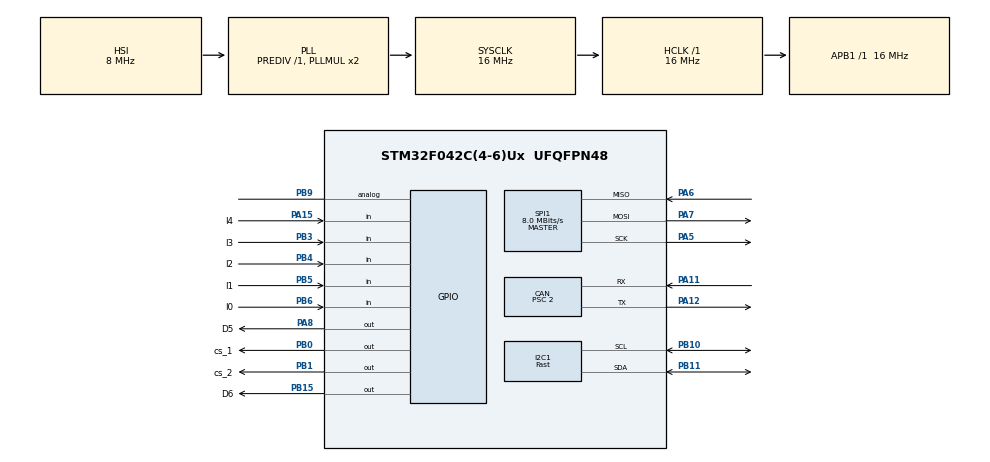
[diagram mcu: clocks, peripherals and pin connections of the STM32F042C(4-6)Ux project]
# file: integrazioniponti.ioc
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CAN.BS1=CAN_BS1_8TQ
CAN.CalculateTimeQuantum=125.0
CAN.NART=ENABLE
CAN.Prescaler=2
CAN.TXFP=ENABLE
I2C1.I2C_Speed_Mode=I2C_Fast
I2C1.Speed=400
I2C1.Timing=0x0000020B
Mcu.Family=STM32F0
Mcu.Name=STM32F042C(4-6)Ux
Mcu.Package=UFQFPN48
NVIC.TIM16_IRQn=true\:0\:0\:false\:false\:true\:true\:true
NVIC.TIM1_BRK_UP_TRG_COM_IRQn=true\:0\:0\:false\:false\:true\:true\:true
NVIC.TIM3_IRQn=true\:0\:0\:false\:false\:true\:true\:true
PA10.Signal=USART1_RX
PA11.Mode=Master
PA11.Signal=CAN_RX
PA12.Mode=Master
PA12.Signal=CAN_TX
PA13.Mode=Serial_Wire
PA13.Signal=SYS_SWDIO
PA14.Mode=Serial_Wire
PA14.Signal=SYS_SWCLK
PA15.GPIO_Label=I4
PA15.GPIO_PuPd=GPIO_PULLUP
PA15.Signal=GPIO_Input
PA5.GPIO_PuPd=GPIO_NOPULL
PA5.Mode=Full_Duplex_Master
PA5.Signal=SPI1_SCK
PA6.GPIO_PuPd=GPIO_NOPULL
PA6.Mode=Full_Duplex_Master
PA6.Signal=SPI1_MISO
PA7.GPIO_PuPd=GPIO_NOPULL
PA7.Mode=Full_Duplex_Master
PA7.Signal=SPI1_MOSI
PA8.GPIO_Label=D5
PA8.Signal=GPIO_Output
PA9.Signal=USART1_TX
PB0.GPIO_Label=cs_1
PB0.GPIO_PuPd=GPIO_PULLUP
PB0.GPIO_Speed=GPIO_SPEED_FREQ_HIGH
PB0.PinState=GPIO_PIN_SET
PB0.Signal=GPIO_Output
PB1.GPIO_Label=cs_2
PB1.GPIO_PuPd=GPIO_PULLUP
PB1.GPIO_Speed=GPIO_SPEED_FREQ_HIGH
PB1.PinState=GPIO_PIN_SET
PB1.Signal=GPIO_Output
PB10.Mode=I2C
PB10.Signal=I2C1_SCL
PB11.Mode=I2C
PB11.Signal=I2C1_SDA
PB15.GPIO_Label=D6
PB15.Signal=GPIO_Output
PB3.GPIO_Label=I3
PB3.GPIO_PuPd=GPIO_PULLUP
PB3.Signal=GPIO_Input
PB4.GPIO_Label=I2
PB4.GPIO_PuPd=GPIO_PULLUP
PB4.Signal=GPIO_Input
PB5.GPIO_Label=I1
PB5.GPIO_PuPd=GPIO_PULLUP
PB5.Signal=GPIO_Input
PB6.GPIO_Label=I0
PB6.GPIO_PuPd=GPIO_PULLUP
PB6.Signal=GPIO_Input
PB9.Signal=GPIO_Analog
PF0-OSC_IN.Mode=HSE-External-Oscillator
PF0-OSC_IN.Signal=RCC_OSC_IN
PF1-OSC_OUT.Mode=HSE-External-Oscillator
PF1-OSC_OUT.Signal=RCC_OSC_OUT
ProjectManager.HeapSize=0x200
ProjectManager.StackSize=0x400
ProjectManager.TargetToolchain=STM32CubeIDE
RCC.AHBFreq_Value=16000000
RCC.APB1Freq_Value=16000000
RCC.APB1TimFreq_Value=16000000
RCC.HCLKFreq_Value=16000000
RCC.HSE_VALUE=16000000
RCC.SYSCLKFreq_VALUE=16000000
RCC.SYSCLKSource=RCC_SYSCLKSOURCE_PLLCLK
SPI1.BaudRatePrescaler=SPI_BAUDRATEPRESCALER_2
SPI1.CLKPhase=SPI_PHASE_2EDGE
SPI1.CLKPolarity=SPI_POLARITY_HIGH
SPI1.CalculateBaudRate=8.0 MBits/s
SPI1.DataSize=SPI_DATASIZE_8BIT
SPI1.Direction=SPI_DIRECTION_2LINES
SPI1.FirstBit=SPI_FIRSTBIT_MSB
SPI1.Mode=SPI_MODE_MASTER
SPI1.VirtualType=VM_MASTER
TIM1.Period=2000
TIM1.Prescaler=15
TIM16.Period=10
TIM16.Prescaler=14999
TIM2.ClockDivision=TIM_CLOCKDIVISION_DIV1
TIM2.Period=65000
TIM2.Prescaler=15
TIM3.Period=5
TIM3.Prescaler=15999
VP_TIM16_VS_ClockSourceINT.Mode=Enable_Timer
VP_TIM1_VS_ClockSourceINT.Mode=Internal
VP_TIM2_VS_ClockSourceINT.Mode=Internal
VP_TIM3_VS_ClockSourceINT.Mode=Internal
board=custom

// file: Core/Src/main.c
/* USER CODE BEGIN Header */
/**
  ******************************************************************************
  * @file           : main.c
  * @brief          : Main program body
  ******************************************************************************
  * @attention
  *
  * <h2><center>&copy; Copyright (c) 2019 STMicroelectronics.
  * All rights reserved.</center></h2>
  *
  * This software component is licensed by ST under BSD 3-Clause license,
  * the "License"; You may not use this file except in compliance with the
  * License. You may obtain a copy of the License at:
  *                        opensource.org/licenses/BSD-3-Clause
  *
  ******************************************************************************
  */
/* USER CODE END Header */

#include "main.h"

/* USER CODE BEGIN Includes */
#include "hts221_reg.h"
#include "lps22hb_reg.h"
#include "l2g2is_reg.h"
#include "iis3dhhc_reg.h"

#include <string.h>
#include <stdio.h>

/* USER CODE END Includes */

/* USER CODE BEGIN PD */
#define T_VALUE 5        //NUMERO DI VOLTE CHE VIENE PROVATA LA COMUNICAZIONE CON I SENSORI
#define NO_ERR 0x00      //NESSUN ERRORE
#define ACC_ERR 0x01	 //ERRORE MODULO ACCELLEROMETRO
#define GYR_ERR 0x02	 //ERRORE MODULO GIROSCOPIO
#define PRE_ERR 0x04     //ERRORE MODULO PRESSIONE
#define HUM_ERR 0x08	 //ERRORE MODULO UMIDITA'
#define FIR_P 0x00000000 //MASCHERA PER PRIMO PACCHETTO
#define SEC_P 0x00000100 //MASCHERA PER SECONDO PACCHETTO
#define THI_P 0x00000300 //MASCHERA PER TERZO PACCHETTO
#define STD_MODE 1		 //MODALITA' STANDARD
#define STR_MODE 0       //MODALITA' AVVIO E FINE

#define CS_up_GPIO_Port GPIOB
#define CS_ACC		cs_1_Pin
#define CS_GIR		cs_2_Pin
#define TX_BUF_DIM      1000
#define START_SAMPLE 2
//ACCELEROMETRO
typedef union{
  int16_t i16bit[3];
  uint8_t u8bit[6];
} axis3bit16_t;

typedef union{
  int16_t i16bit;
  uint8_t u8bit[2];
} axis1bit16_t;
//GIROSCOPIO

typedef union{
  int16_t out_x;
  uint8_t u8_x[2];
} my_data;

//BAROMETRO
typedef union{
  int32_t i32bit;
  uint8_t u8bit[4];
} axis1bit32_t;
typedef struct{
		int16_t x;
		int16_t y;

	}Giro_Off;
l2g2is_off_t setOffset;
/* USER CODE END PD */

CAN_HandleTypeDef hcan;

I2C_HandleTypeDef hi2c1;

SPI_HandleTypeDef hspi1;

TIM_HandleTypeDef htim1;
TIM_HandleTypeDef htim2;
TIM_HandleTypeDef htim3;
TIM_HandleTypeDef htim16;

/* USER CODE BEGIN PV */
uint8_t timeStart;
uint8_t Err=0;
//ACCELEROMETRO
static axis3bit16_t data_raw_acceleration;
//static axis1bit16_t data_raw_temperature;

//static float temperature_degC;
float temperature_raw;
static uint8_t whoamI, rst;

//GIROSCOPIO
static axis3bit16_t data_raw_angular_rate;

static axis1bit16_t data_raw_temperature;

static l2g2is_dev_status_t reg_gir;

//BAROMETRO

static axis1bit32_t data_raw_pressure;
static axis1bit16_t data_raw_temperature;

//HUMIDITY
static axis1bit16_t data_raw_humidity;
//CONTROLL BUS

//static uint8_t tx_buffer[TX_BUF_DIM];
struct{
	int16_t Acc_x;
	int16_t Acc_y;
	int16_t Acc_z;
	int16_t Gir_x;
	int16_t Gir_y;
	int16_t T_a;
	int16_t T_g;
	int16_t T_b;
	uint32_t Pres;
	uint16_t Hum;
	uint16_t Responce_Time_millis;
    }Data[2];
uint8_t ID=0; //ID BOARD
uint8_t IDF=0;//ID Fake per schedulare invio pacchetti nel tempo
uint8_t flagStartData=0;//serve ad abilitare la trasmissione dei dati non importanti come la pressione e l'umidità che saranno letti solo all'inizio e alla fine
uint8_t flagStartAcc=0;//permette di leggere prima i dati e poi inviarli
uint8_t a=0;
uint8_t read[2];
uint32_t timer;
//CAN
CAN_TxHeaderTypeDef TxHeader;
uint8_t TxData0[8];
uint32_t TxMailbox;
CAN_FilterTypeDef sFilterConfig;
//ACCELEROMETRO
stmdev_ctx_t dev_ctx_acc;
iis3dhhc_reg_t reg_acc;
//GIROSCOPIO
stmdev_ctx_t dev_ctx_gir;
//UMIDITA'
stmdev_ctx_t dev_ctx_hum;
hts221_reg_t reg_hum;
//BAROMETER
stmdev_ctx_t dev_ctx_bar;
uint8_t reg_bar;
uint8_t rst_bar;
/* USER CODE END PV */

void SystemClock_Config(void);
static void MX_GPIO_Init(void);
static void MX_I2C1_Init(void);
static void MX_SPI1_Init(void);
static void MX_TIM2_Init(void);
static void MX_TIM1_Init(void);
static void MX_TIM3_Init(void);
static void MX_CAN_Init(void);
static void MX_TIM16_Init(void);

/* USER CODE BEGIN 0 */
static int32_t platform_write(void *handle, uint8_t reg, uint8_t *bufp, uint16_t len);
static int32_t platform_read(void *handle, uint8_t reg, uint8_t *bufp, uint16_t len);
static int32_t platform_write_gir(void *handle, uint8_t reg, uint8_t *bufp, uint16_t len);
static int32_t platform_read_gir(void *handle, uint8_t reg, uint8_t *bufp, uint16_t len);
static int32_t platform_write_bar(void *handle, uint8_t reg, uint8_t *bufp, uint16_t len);
static int32_t platform_read_bar(void *handle, uint8_t reg, uint8_t *bufp, uint16_t len);
static int32_t platform_write_hum(void *handle, uint8_t reg, uint8_t *bufp, uint16_t len);
static int32_t platform_read_hum(void *handle, uint8_t reg, uint8_t *bufp, uint16_t len);
static uint8_t get_data();
uint8_t make_giro_offset(stmdev_ctx_t *ctx,Giro_Off *giro);

typedef struct {
  float x0;
  float y0;
  float x1;
  float y1;
} lin_t;
float linear_interpolation(lin_t *lin, int16_t x)
{
 return ((lin->y1 - lin->y0) * x +  ((lin->x1 * lin->y0) - (lin->x0 * lin->y1)))
        / (lin->x1 - lin->x0);
}
/* USER CODE END 0 */

int main(void)
{
  /* USER CODE BEGIN 1 */
	/*
	  		*  Check device ID*/

  /* USER CODE END 1 */

  /* MCU Configuration--------------------------------------------------------*/

  /* Reset of all peripherals, Initializes the Flash interface and the Systick. */
  HAL_Init();

  /* Configure the system clock */
  SystemClock_Config();

  /* Initialize all configured peripherals */
  MX_GPIO_Init();
  MX_I2C1_Init();
  MX_SPI1_Init();
  MX_TIM2_Init();
  MX_TIM1_Init();
  MX_TIM3_Init();
  MX_CAN_Init();
  MX_TIM16_Init();
  /* USER CODE BEGIN 2 */
	TxHeader.StdId=0x312;
	TxHeader.ExtId=0x010;
	TxHeader.RTR=CAN_RTR_DATA;
	TxHeader.IDE=CAN_ID_STD;
	TxHeader.DLC=8;
	TxHeader.TransmitGlobalTime=DISABLE;

	//SETTAGGIO FILTRI E INIZIALIZZAZIONE CAN
	sFilterConfig.FilterFIFOAssignment=CAN_FILTER_FIFO0;
	sFilterConfig.FilterIdHigh=0x313<<5;
	sFilterConfig.FilterIdLow=0;
	sFilterConfig.FilterMaskIdHigh=0;
	sFilterConfig.FilterMaskIdLow=0;
	sFilterConfig.FilterScale=CAN_FILTERSCALE_32BIT;
	sFilterConfig.FilterActivation=ENABLE;
	HAL_CAN_ConfigFilter(&hcan,&sFilterConfig);
	HAL_CAN_Start(&hcan);

	HAL_Delay(100);

	//RICONOSCIMENTO ID TRAMITE PONTICELLO
	if(HAL_GPIO_ReadPin(GPIOB,I0_Pin)){ID=ID|0x01;}
	if(HAL_GPIO_ReadPin(GPIOB,I1_Pin)){ID=ID|0x02;}
	if(HAL_GPIO_ReadPin(GPIOB,I2_Pin)){ID=ID|0x04;}
	if(HAL_GPIO_ReadPin(GPIOB,I3_Pin)){ID=ID|0x08;}
	if(HAL_GPIO_ReadPin(GPIOA,I4_Pin)){ID=ID|0x10;}
	//OGNI ID VIENE TRASFORMATO IN UN RANGE DA 0 A 9 E SERVIRA' PER TEMPORIZARE L'INVIO
	if(ID>9)IDF=ID-10;
	if(ID>19)IDF=ID-20;
	htim1.Init.Period = 1200+IDF*350;

	//TRASMISSIONE SPI DISABILITATA
	HAL_GPIO_WritePin(GPIOB, cs_1_Pin, GPIO_PIN_SET);
	HAL_GPIO_WritePin(GPIOB, cs_2_Pin, GPIO_PIN_SET);
	HAL_Delay(1);

	//DEFINIZIONE DEI DEVICE
	//ACCELEROMETRO

	dev_ctx_acc.write_reg = platform_write;
	dev_ctx_acc.read_reg = platform_read;
	dev_ctx_acc.handle = &hspi1;
	//GIROSCOPIO

	dev_ctx_gir.write_reg = platform_write_gir;
	dev_ctx_gir.read_reg = platform_read_gir;
	dev_ctx_gir.handle = &hspi1;
	//UMIDITA'

	dev_ctx_hum.write_reg = platform_write_hum;
	dev_ctx_hum.read_reg = platform_read_hum;
	dev_ctx_hum.handle = &hi2c1;
	//BAROMETRO

	dev_ctx_bar.write_reg = platform_write_bar;
	dev_ctx_bar.read_reg = platform_read_bar;
	dev_ctx_bar.handle = &hi2c1;

	//INIZIALIZZAZIONE ACCELEROMETRO E VERIFICA DELLA CONNESSIONE AL BUS
	whoamI = 0;
	timeStart=STR_MODE;//ATTIVO START PACCHETTI PRESSIONE E UMIDITA'
	iis3dhhc_device_id_get(&dev_ctx_acc, &whoamI);
	while(timeStart>T_VALUE){// CONTROLLO SE E' POSSIBILE LA COMUNICAZIONE CON IL SENSORE
		if ( whoamI != IIS3DHHC_ID){
			break;
		}
	}
    if(timeStart>T_VALUE){
    	Err=Err|ACC_ERR;
    }
	iis3dhhc_reset_set(&dev_ctx_acc, PROPERTY_ENABLE);//RIPRISTINO SETTAGGI DEFAULT
	do {
	  iis3dhhc_reset_get(&dev_ctx_acc, &rst);
	} while (rst);
	iis3dhhc_block_data_update_set(&dev_ctx_acc, PROPERTY_ENABLE);//ABLITAZIONE DATAUPDATE
	iis3dhhc_data_rate_set(&dev_ctx_acc, IIS3DHHC_1kHz1);//SETTAGGIO FREQUENZA DI CAMPIONAMENTO
	iis3dhhc_filter_config_set(&dev_ctx_acc,3);//SETTAGGIO FILTRO FFR A 235HZ
	iis3dhhc_offset_temp_comp_set(&dev_ctx_acc, PROPERTY_ENABLE);//ABLITIAZIONE COMPENSAZIONE TEMPERATURA
	/*uint8_t speed= 0x01;
	uint8_t add=0x24|0x80;
	HAL_GPIO_WritePin(CS_up_GPIO_Port, CS_ACC, GPIO_PIN_RESET);
	HAL_SPI_Transmit(&hspi1, &add, 1, 10);
	if(HAL_SPI_Receive(&hspi1, &read[0], 1, 10)==HAL_OK)a=1;
	HAL_GPIO_WritePin(CS_up_GPIO_Port, CS_ACC, GPIO_PIN_SET);
	add=0x24;
	HAL_GPIO_WritePin(CS_up_GPIO_Port, CS_ACC, GPIO_PIN_RESET);
	HAL_SPI_Transmit(&hspi1, &add, 1, 10);
	HAL_SPI_Transmit(&hspi1, &speed, 1, 10);
	HAL_GPIO_WritePin(CS_up_GPIO_Port, CS_ACC, GPIO_PIN_SET);
	add=0x24|0x80;
	HAL_GPIO_WritePin(CS_up_GPIO_Port, CS_ACC, GPIO_PIN_RESET);
	HAL_SPI_Transmit(&hspi1, &add, 1, 10);
	if(HAL_SPI_Receive(&hspi1, &read[1], 1, 10)==HAL_OK)a=1;
	HAL_GPIO_WritePin(CS_up_GPIO_Port, CS_ACC, GPIO_PIN_SET);*/

	//INIZIALIZZAZIONE GIROSCOPIO E VERIFICA DELLA CONNESSIONE AL BUS
	timeStart=0;
	l2g2is_dev_id_get(&dev_ctx_gir, &whoamI);
	while(timeStart>T_VALUE){
		if ( whoamI == L2G2IS_ID ){// CONTROLLO SE E' POSSIBILE LA COMUNICAZIONE CON IL SENSORE
			break;
		}
	}
	if(timeStart>T_VALUE){
	    Err=Err|GYR_ERR;
	}
	l2g2is_dev_reset_set(&dev_ctx_gir, PROPERTY_ENABLE);//RIPRISTINO SETTAGGI DEFAULT
	do {
	  l2g2is_dev_reset_get(&dev_ctx_gir, &rst);
	} while (rst);
	l2g2is_gy_full_scale_set(&dev_ctx_gir, L2G2IS_200dps);//SETTAGGIO SCALA DI MISURA -200DPS +200DPS
    //l2g2is_gy_filter_lp_bandwidth_set(&dev_ctx, L2G2IS_LPF_BW_160Hz);//SETTAGGIO FILTRO PASSA BASSO
	//l2g2is_gy_filter_hp_bandwidth_set(&dev_ctx, L2G2IS_HPF_BYPASS);//SETTAGGIO FILTRO PASSA ALTO
	setOffset.offx = 0x00;//SETTAGGIO OFFSET ASSE X
	setOffset.offy = 0x00;//SETTAGGIO OFFSET ASSE Y
	l2g2is_angular_rate_offset_set(&dev_ctx_gir, setOffset);//SETTAGGIO OFFSET ANGULAR RATE
	l2g2is_gy_data_rate_set(&dev_ctx_gir, L2G2IS_GY_9k33Hz);//SETTAGGIO FREQUENZA DI CAMPIONAMENTO DEL SENSORE
    //Data.Responce_Time_millis=make_giro_offset(&dev_ctx_gir,&giro); OFFSET NON FUNZIONANTE

	//INIZIALIZZAZIONE BAROMETRO E VERIFICA DELLA CONNESSIONE AL BUS
	whoamI=0;
	timeStart=0;
	lps22hb_device_id_get(&dev_ctx_bar,&whoamI);
    while(timeStart>T_VALUE){
    		if ( whoamI == LPS22HB_ID ){// CONTROLLO SE E' POSSIBILE LA COMUNICAZIONE CON IL SENSORE
    			break;
    		}
    	}
    	if(timeStart>T_VALUE){
    	    Err=Err|PRE_ERR;
    	}
	lps22hb_reset_set(&dev_ctx_bar, PROPERTY_ENABLE);//RIPRISTINO SETTAGGI DEFAULT
	do {
	lps22hb_reset_get(&dev_ctx_bar, &rst_bar);
	} while (rst_bar);
	//lps22hb_block_data_update_set(&dev_ctx, PROPERTY_ENABLE);//ABLITAZIONE DATAUPDATE
	lps22hb_low_pass_filter_mode_set(&dev_ctx_bar, LPS22HB_LPF_ODR_DIV_2);//SETTAGGIO LOW PASS FILTER
	//lps22hb_drdy_on_int_set(&dev_ctx, PROPERTY_ENABLE);//INTERRUPT FOR DATA READY INT_DRDY
	lps22hb_data_rate_set(&dev_ctx_bar, LPS22HB_ODR_10_Hz);//SETTAGGIO FREQUENZA DI CAMPIONAMENTO DEL SENSORE

	//INIZIALIZZAZIONE SENSORE DI UMIDITA' E VERIFICA DELLA CONNESSIONE AL BUS
	whoamI = 0;
	timeStart=0;
	hts221_device_id_get(&dev_ctx_hum, &whoamI);
	while(timeStart>T_VALUE){
			if ( whoamI == HTS221_ID ){// CONTROLLO SE E' POSSIBILE LA COMUNICAZIONE CON IL SENSORE
				break;
			}
		}
	if(timeStart>T_VALUE){
		Err=Err|HUM_ERR;
	}
	//CALIBRAZIONE SENSORE UMIDITA'
	axis1bit16_t coeff;
	lin_t lin_hum;
	hts221_hum_adc_point_0_get(&dev_ctx_hum, coeff.u8bit);
	lin_hum.x0 = (float)coeff.i16bit;
	hts221_hum_rh_point_0_get(&dev_ctx_hum, coeff.u8bit);
	lin_hum.y0 = (float)coeff.u8bit[0];
	hts221_hum_adc_point_1_get(&dev_ctx_hum, coeff.u8bit);
	lin_hum.x1 = (float)coeff.i16bit;
	hts221_hum_rh_point_1_get(&dev_ctx_hum, coeff.u8bit);
	lin_hum.y1 = (float)coeff.u8bit[0];

	/* Read temperature calibration coefficient */
	lin_t lin_temp;
	hts221_temp_adc_point_0_get(&dev_ctx_hum, coeff.u8bit);
	lin_temp.x0 = (float)coeff.i16bit;
	hts221_temp_deg_point_0_get(&dev_ctx_hum, coeff.u8bit);
	lin_temp.y0 = (float)coeff.u8bit[0];
	hts221_temp_adc_point_1_get(&dev_ctx_hum, coeff.u8bit);
	lin_temp.x1 = (float)coeff.i16bit;
	hts221_temp_deg_point_1_get(&dev_ctx_hum, coeff.u8bit);
	lin_temp.y1 = (float)coeff.u8bit[0];

	hts221_block_data_update_set(&dev_ctx_hum, PROPERTY_ENABLE);//ABLITAZIONE DATAUPDATE
	hts221_data_rate_set(&dev_ctx_hum, HTS221_ODR_1Hz);//SETTAGGIO DATARATE
	hts221_power_on_set(&dev_ctx_hum, PROPERTY_ENABLE);//ACCENSIONE INVIO DATI DISPOSITIVO

	//HAL_TIM_Base_Start_IT(&htim2);
	HAL_TIM_Base_Start_IT(&htim3);//AVVIO DEL TIMER 3 E CONSEGUENTE AVVIO DEL PROGRAMMA
	HAL_TIM_Base_Start_IT(&htim16);//AVVIO DEL TIMER 16 PER INVIO DATI PRESSIONE E UMIDITA'
	int i=0;
  /* USER CODE END 2 */

  /* Infinite loop */
  while (1)
  {

  }
}

void SystemClock_Config(void)
{
  RCC_OscInitTypeDef RCC_OscInitStruct = {0};
  RCC_ClkInitTypeDef RCC_ClkInitStruct = {0};
  RCC_PeriphCLKInitTypeDef PeriphClkInit = {0};

  /** Initializes the CPU, AHB and APB busses clocks
  */
  RCC_OscInitStruct.OscillatorType = RCC_OSCILLATORTYPE_HSI;
  RCC_OscInitStruct.HSIState = RCC_HSI_ON;
  RCC_OscInitStruct.HSICalibrationValue = RCC_HSICALIBRATION_DEFAULT;
  RCC_OscInitStruct.PLL.PLLState = RCC_PLL_ON;
  RCC_OscInitStruct.PLL.PLLSource = RCC_PLLSOURCE_HSI;
  RCC_OscInitStruct.PLL.PLLMUL = RCC_PLL_MUL2;
  RCC_OscInitStruct.PLL.PREDIV = RCC_PREDIV_DIV1;
  if (HAL_RCC_OscConfig(&RCC_OscInitStruct) != HAL_OK)
  {
    Error_Handler();
  }
  /** Initializes the CPU, AHB and APB busses clocks
  */
  RCC_ClkInitStruct.ClockType = RCC_CLOCKTYPE_HCLK|RCC_CLOCKTYPE_SYSCLK
                              |RCC_CLOCKTYPE_PCLK1;
  RCC_ClkInitStruct.SYSCLKSource = RCC_SYSCLKSOURCE_PLLCLK;
  RCC_ClkInitStruct.AHBCLKDivider = RCC_SYSCLK_DIV1;
  RCC_ClkInitStruct.APB1CLKDivider = RCC_HCLK_DIV1;

  if (HAL_RCC_ClockConfig(&RCC_ClkInitStruct, FLASH_LATENCY_0) != HAL_OK)
  {
    Error_Handler();
  }
  PeriphClkInit.PeriphClockSelection = RCC_PERIPHCLK_I2C1;
  PeriphClkInit.I2c1ClockSelection = RCC_I2C1CLKSOURCE_HSI;
  if (HAL_RCCEx_PeriphCLKConfig(&PeriphClkInit) != HAL_OK)
  {
    Error_Handler();
  }
}

static void MX_CAN_Init(void)
{

  hcan.Instance = CAN;
  hcan.Init.Prescaler = 2;
  hcan.Init.Mode = CAN_MODE_NORMAL;
  hcan.Init.SyncJumpWidth = CAN_SJW_1TQ;
  hcan.Init.TimeSeg1 = CAN_BS1_8TQ;
  hcan.Init.TimeSeg2 = CAN_BS2_1TQ;
  hcan.Init.TimeTriggeredMode = DISABLE;
  hcan.Init.AutoBusOff = DISABLE;
  hcan.Init.AutoWakeUp = DISABLE;
  hcan.Init.AutoRetransmission = ENABLE;
  hcan.Init.ReceiveFifoLocked = DISABLE;
  hcan.Init.TransmitFifoPriority = ENABLE;
  if (HAL_CAN_Init(&hcan) != HAL_OK)
  {
    Error_Handler();
  }

}

static void MX_I2C1_Init(void)
{

  hi2c1.Instance = I2C1;
  hi2c1.Init.Timing = 0x0000020B;
  hi2c1.Init.OwnAddress1 = 0;
  hi2c1.Init.AddressingMode = I2C_ADDRESSINGMODE_7BIT;
  hi2c1.Init.DualAddressMode = I2C_DUALADDRESS_DISABLE;
  hi2c1.Init.OwnAddress2 = 0;
  hi2c1.Init.OwnAddress2Masks = I2C_OA2_NOMASK;
  hi2c1.Init.GeneralCallMode = I2C_GENERALCALL_DISABLE;
  hi2c1.Init.NoStretchMode = I2C_NOSTRETCH_DISABLE;
  if (HAL_I2C_Init(&hi2c1) != HAL_OK)
  {
    Error_Handler();
  }
  /** Configure Analogue filter
  */
  if (HAL_I2CEx_ConfigAnalogFilter(&hi2c1, I2C_ANALOGFILTER_ENABLE) != HAL_OK)
  {
    Error_Handler();
  }
  /** Configure Digital filter
  */
  if (HAL_I2CEx_ConfigDigitalFilter(&hi2c1, 0) != HAL_OK)
  {
    Error_Handler();
  }

}

static void MX_SPI1_Init(void)
{

  /* SPI1 parameter configuration*/
  hspi1.Instance = SPI1;
  hspi1.Init.Mode = SPI_MODE_MASTER;
  hspi1.Init.Direction = SPI_DIRECTION_2LINES;
  hspi1.Init.DataSize = SPI_DATASIZE_8BIT;
  hspi1.Init.CLKPolarity = SPI_POLARITY_HIGH;
  hspi1.Init.CLKPhase = SPI_PHASE_2EDGE;
  hspi1.Init.NSS = SPI_NSS_SOFT;
  hspi1.Init.BaudRatePrescaler = SPI_BAUDRATEPRESCALER_2;
  hspi1.Init.FirstBit = SPI_FIRSTBIT_MSB;
  hspi1.Init.TIMode = SPI_TIMODE_DISABLE;
  hspi1.Init.CRCCalculation = SPI_CRCCALCULATION_DISABLE;
  hspi1.Init.CRCPolynomial = 7;
  hspi1.Init.CRCLength = SPI_CRC_LENGTH_DATASIZE;
  hspi1.Init.NSSPMode = SPI_NSS_PULSE_DISABLE;
  if (HAL_SPI_Init(&hspi1) != HAL_OK)
  {
    Error_Handler();
  }

}

static void MX_TIM1_Init(void)
{

  TIM_ClockConfigTypeDef sClockSourceConfig = {0};
  TIM_MasterConfigTypeDef sMasterConfig = {0};

  htim1.Instance = TIM1;
  htim1.Init.Prescaler = 15;
  htim1.Init.CounterMode = TIM_COUNTERMODE_UP;
  htim1.Init.Period = 2000;
  htim1.Init.ClockDivision = TIM_CLOCKDIVISION_DIV1;
  htim1.Init.RepetitionCounter = 0;
  htim1.Init.AutoReloadPreload = TIM_AUTORELOAD_PRELOAD_DISABLE;
  if (HAL_TIM_Base_Init(&htim1) != HAL_OK)
  {
    Error_Handler();
  }
  sClockSourceConfig.ClockSource = TIM_CLOCKSOURCE_INTERNAL;
  if (HAL_TIM_ConfigClockSource(&htim1, &sClockSourceConfig) != HAL_OK)
  {
    Error_Handler();
  }
  sMasterConfig.MasterOutputTrigger = TIM_TRGO_RESET;
  sMasterConfig.MasterSlaveMode = TIM_MASTERSLAVEMODE_DISABLE;
  if (HAL_TIMEx_MasterConfigSynchronization(&htim1, &sMasterConfig) != HAL_OK)
  {
    Error_Handler();
  }

}

static void MX_TIM2_Init(void)
{

  TIM_ClockConfigTypeDef sClockSourceConfig = {0};
  TIM_MasterConfigTypeDef sMasterConfig = {0};

  htim2.Instance = TIM2;
  htim2.Init.Prescaler = 15;
  htim2.Init.CounterMode = TIM_COUNTERMODE_UP;
  htim2.Init.Period = 65000;
  htim2.Init.ClockDivision = TIM_CLOCKDIVISION_DIV1;
  htim2.Init.AutoReloadPreload = TIM_AUTORELOAD_PRELOAD_DISABLE;
  if (HAL_TIM_Base_Init(&htim2) != HAL_OK)
  {
    Error_Handler();
  }
  sClockSourceConfig.ClockSource = TIM_CLOCKSOURCE_INTERNAL;
  if (HAL_TIM_ConfigClockSource(&htim2, &sClockSourceConfig) != HAL_OK)
  {
    Error_Handler();
  }
  sMasterConfig.MasterOutputTrigger = TIM_TRGO_RESET;
  sMasterConfig.MasterSlaveMode = TIM_MASTERSLAVEMODE_DISABLE;
  if (HAL_TIMEx_MasterConfigSynchronization(&htim2, &sMasterConfig) != HAL_OK)
  {
    Error_Handler();
  }

}

static void MX_TIM3_Init(void)
{

  TIM_ClockConfigTypeDef sClockSourceConfig = {0};
  TIM_MasterConfigTypeDef sMasterConfig = {0};

  htim3.Instance = TIM3;
  htim3.Init.Prescaler = 15999;
  htim3.Init.CounterMode = TIM_COUNTERMODE_UP;
  htim3.Init.Period = 5;
  htim3.Init.ClockDivision = TIM_CLOCKDIVISION_DIV1;
  htim3.Init.AutoReloadPreload = TIM_AUTORELOAD_PRELOAD_DISABLE;
  if (HAL_TIM_Base_Init(&htim3) != HAL_OK)
  {
    Error_Handler();
  }
  sClockSourceConfig.ClockSource = TIM_CLOCKSOURCE_INTERNAL;
  if (HAL_TIM_ConfigClockSource(&htim3, &sClockSourceConfig) != HAL_OK)
  {
    Error_Handler();
  }
  sMasterConfig.MasterOutputTrigger = TIM_TRGO_RESET;
  sMasterConfig.MasterSlaveMode = TIM_MASTERSLAVEMODE_DISABLE;
  if (HAL_TIMEx_MasterConfigSynchronization(&htim3, &sMasterConfig) != HAL_OK)
  {
    Error_Handler();
  }

}

static void MX_TIM16_Init(void)
{

  htim16.Instance = TIM16;
  htim16.Init.Prescaler = 14999;
  htim16.Init.CounterMode = TIM_COUNTERMODE_UP;
  htim16.Init.Period = 10;
  htim16.Init.ClockDivision = TIM_CLOCKDIVISION_DIV1;
  htim16.Init.RepetitionCounter = 0;
  htim16.Init.AutoReloadPreload = TIM_AUTORELOAD_PRELOAD_DISABLE;
  if (HAL_TIM_Base_Init(&htim16) != HAL_OK)
  {
    Error_Handler();
  }

}

static void MX_GPIO_Init(void)
{
  GPIO_InitTypeDef GPIO_InitStruct = {0};

  /* GPIO Ports Clock Enable */
  __HAL_RCC_GPIOF_CLK_ENABLE();
  __HAL_RCC_GPIOA_CLK_ENABLE();
  __HAL_RCC_GPIOB_CLK_ENABLE();

  /*Configure GPIO pin Output Level */
  HAL_GPIO_WritePin(GPIOB, cs_1_Pin|cs_2_Pin, GPIO_PIN_SET);

  /*Configure GPIO pin Output Level */
  HAL_GPIO_WritePin(D6_GPIO_Port, D6_Pin, GPIO_PIN_RESET);

  /*Configure GPIO pin Output Level */
  HAL_GPIO_WritePin(D5_GPIO_Port, D5_Pin, GPIO_PIN_RESET);

  /*Configure GPIO pins : cs_1_Pin cs_2_Pin */
  GPIO_InitStruct.Pin = cs_1_Pin|cs_2_Pin;
  GPIO_InitStruct.Mode = GPIO_MODE_OUTPUT_PP;
  GPIO_InitStruct.Pull = GPIO_PULLUP;
  GPIO_InitStruct.Speed = GPIO_SPEED_FREQ_HIGH;
  HAL_GPIO_Init(GPIOB, &GPIO_InitStruct);

  /*Configure GPIO pin : D6_Pin */
  GPIO_InitStruct.Pin = D6_Pin;
  GPIO_InitStruct.Mode = GPIO_MODE_OUTPUT_PP;
  GPIO_InitStruct.Pull = GPIO_NOPULL;
  GPIO_InitStruct.Speed = GPIO_SPEED_FREQ_LOW;
  HAL_GPIO_Init(D6_GPIO_Port, &GPIO_InitStruct);

  /*Configure GPIO pin : D5_Pin */
  GPIO_InitStruct.Pin = D5_Pin;
  GPIO_InitStruct.Mode = GPIO_MODE_OUTPUT_PP;
  GPIO_InitStruct.Pull = GPIO_NOPULL;
  GPIO_InitStruct.Speed = GPIO_SPEED_FREQ_LOW;
  HAL_GPIO_Init(D5_GPIO_Port, &GPIO_InitStruct);

  /*Configure GPIO pins : PA9 PA10 */
  GPIO_InitStruct.Pin = GPIO_PIN_9|GPIO_PIN_10;
  GPIO_InitStruct.Mode = GPIO_MODE_AF_PP;
  GPIO_InitStruct.Pull = GPIO_NOPULL;
  GPIO_InitStruct.Speed = GPIO_SPEED_FREQ_HIGH;
  GPIO_InitStruct.Alternate = GPIO_AF1_USART1;
  HAL_GPIO_Init(GPIOA, &GPIO_InitStruct);

  /*Configure GPIO pin : I4_Pin */
  GPIO_InitStruct.Pin = I4_Pin;
  GPIO_InitStruct.Mode = GPIO_MODE_INPUT;
  GPIO_InitStruct.Pull = GPIO_PULLUP;
  HAL_GPIO_Init(I4_GPIO_Port, &GPIO_InitStruct);

  /*Configure GPIO pins : I3_Pin I2_Pin I1_Pin I0_Pin */
  GPIO_InitStruct.Pin = I3_Pin|I2_Pin|I1_Pin|I0_Pin;
  GPIO_InitStruct.Mode = GPIO_MODE_INPUT;
  GPIO_InitStruct.Pull = GPIO_PULLUP;
  HAL_GPIO_Init(GPIOB, &GPIO_InitStruct);

  /*Configure GPIO pin : PB9 */
  GPIO_InitStruct.Pin = GPIO_PIN_9;
  GPIO_InitStruct.Mode = GPIO_MODE_ANALOG;
  GPIO_InitStruct.Pull = GPIO_NOPULL;
  HAL_GPIO_Init(GPIOB, &GPIO_InitStruct);

}

/* USER CODE BEGIN 4 */

static int32_t platform_write(void *handle, uint8_t reg, uint8_t *bufp,
                              uint16_t len)
{
	HAL_GPIO_WritePin(CS_up_GPIO_Port, CS_ACC, GPIO_PIN_RESET);
	HAL_SPI_Transmit(handle, &reg, 1, 10);
	HAL_SPI_Transmit(handle, bufp, len, 10);
	HAL_GPIO_WritePin(CS_up_GPIO_Port, CS_ACC, GPIO_PIN_SET);
  return 0;
}

/*
 * @brief  Read generic device register (platform dependent)
 *
 * @param  handle    customizable argument. In this examples is used in
 *                   order to select the correct sensor bus handler.
 * @param  reg       register to read
 * @param  bufp      pointer to buffer that store the data read
 * @param  len       number of consecutive register to read
 *
 */
static int32_t platform_read(void *handle, uint8_t reg, uint8_t *bufp,
                             uint16_t len)
{
	/* Read command */
	reg |= 0x80;
    HAL_GPIO_WritePin(CS_up_GPIO_Port, CS_ACC, GPIO_PIN_RESET);
    HAL_SPI_Transmit(handle, &reg, 1, 10);
    HAL_SPI_Receive(handle, bufp, len, 10);
    HAL_GPIO_WritePin(CS_up_GPIO_Port, CS_ACC, GPIO_PIN_SET);
  return 0;
}

static int32_t platform_write_gir(void *handle, uint8_t reg, uint8_t *bufp,
                              uint16_t len)
{	if (len>1)reg |= 0x40;
	HAL_GPIO_WritePin(CS_up_GPIO_Port, CS_GIR, GPIO_PIN_RESET);
	HAL_SPI_Transmit(handle, &reg, 1, 10);
	HAL_SPI_Transmit(handle, bufp, len, 10);
	HAL_GPIO_WritePin(CS_up_GPIO_Port, CS_GIR, GPIO_PIN_SET);
  return 0;
}

/*
 * @brief  Read generic device register (platform dependent)
 *
 * @param  handle    customizable argument. In this examples is used in
 *                   order to select the correct sensor bus handler.
 * @param  reg       register to read
 * @param  bufp      pointer to buffer that store the data read
 * @param  len       number of consecutive register to read
 *
 */
static int32_t platform_read_gir(void *handle, uint8_t reg, uint8_t *bufp,
                             uint16_t len)
{
	/* Read command */
	reg |= 0x80;
	if (len>1)reg |= 0xC0;
    HAL_GPIO_WritePin(CS_up_GPIO_Port, CS_GIR, GPIO_PIN_RESET);
    HAL_SPI_Transmit(handle, &reg, 1, 10);
    HAL_SPI_Receive(handle, bufp, len, 10);
    HAL_GPIO_WritePin(CS_up_GPIO_Port, CS_GIR, GPIO_PIN_SET);
  return 0;
}
static int32_t platform_write_bar(void *handle, uint8_t reg, uint8_t *bufp,
                              uint16_t len)
{
  if (handle == &hi2c1)
  {
    HAL_I2C_Mem_Write(handle, LPS22HB_I2C_ADD_H, reg,
                      I2C_MEMADD_SIZE_8BIT, bufp, len, 100);
  }

  return 0;
}

/*
 * @brief  Read generic device register (platform dependent)
 *
 * @param  handle    customizable argument. In this examples is used in
 *                   order to select the correct sensor bus handler.
 * @param  reg       register to read
 * @param  bufp      pointer to buffer that store the data read
 * @param  len       number of consecutive register to read
 *
 */
static int32_t platform_read_bar(void *handle, uint8_t reg, uint8_t *bufp, uint16_t len)
{
  if (handle == &hi2c1)
  {
    HAL_I2C_Mem_Read(handle, LPS22HB_I2C_ADD_H, reg,
                     I2C_MEMADD_SIZE_8BIT, bufp, len, 100);
  }

  return 0;
}
static int32_t platform_write_hum(void *handle, uint8_t reg, uint8_t *bufp, uint16_t len)
{
  if (handle == &hi2c1)
  {
    /* Write multiple command */
    reg |= 0x80;
    HAL_I2C_Mem_Write(handle, HTS221_I2C_ADDRESS, reg,
                      I2C_MEMADD_SIZE_8BIT, bufp, len, 100);
  }

  return 0;
}

/*
 * @brief  Read generic device register (platform dependent)
 *
 * @param  handle    customizable argument. In this examples is used in
 *                   order to select the correct sensor bus handler.
 * @param  reg       register to read
 * @param  bufp      pointer to buffer that store the data read
 * @param  len       number of consecutive register to read
 *
 */
static int32_t platform_read_hum(void *handle, uint8_t reg, uint8_t *bufp, uint16_t len)
{
  if (handle == &hi2c1)
  {
    /* Read multiple command */
    reg |= 0x80;
    HAL_I2C_Mem_Read(handle, HTS221_I2C_ADDRESS, reg,
                     I2C_MEMADD_SIZE_8BIT, bufp, len, 100);
  }

  return 0;
}
uint8_t make_giro_offset(stmdev_ctx_t *ctx,Giro_Off *giro){
	l2g2is_dev_status_t reg_gir;

	l2g2is_dev_status_get(ctx, &reg_gir);
	for(int i=0;i<16;i++){
	if ( reg_gir.xyda )
			  	  {
			  		/* Read imu data */
			  		memset(data_raw_angular_rate.u8bit, 0x00, 2 * sizeof(int16_t));

			  		l2g2is_angular_rate_raw_get(ctx, data_raw_angular_rate.u8bit);

			  		giro->x=data_raw_angular_rate.i16bit[0]+giro->x;
			  		giro->y=data_raw_angular_rate.i16bit[1]+giro->y;
			  	  HAL_Delay(1);}
	else return 1;
}

	giro->x=giro->x/16;
	giro->y=giro->y/16;
return 0;}

void HAL_TIM_PeriodElapsedCallback(TIM_HandleTypeDef *htim)
{
    if (htim->Instance==TIM16) //check if the interrupt comes from TIM2
        {
    	HAL_TIM_Base_Stop_IT(&htim16);
    	flagStartData=STD_MODE;
        }
    if (htim->Instance==TIM3) //check if the interrupt comes from TIM2
            {
    		TIM1->CNT=0;
    		HAL_TIM_Base_Start_IT(&htim2);
    		HAL_TIM_Base_Start_IT(&htim1);
    		get_data();
            }
    if (htim->Instance==TIM1) //check if the interrupt comes from TIM2
            {
    		timer++;//TIMER INVIO PACCHETTI TICKER
    		//Data[0].Responce_Time_millis=TIM2->CNT;
    		switch (flagStartData){
    			case STD_MODE:{
					HAL_TIM_Base_Stop(&htim1);
					TxHeader.StdId=(ID)|FIR_P;
					TxData0[0]=(int8_t)(timer  & 0x000000FF);
					TxData0[1]=(int8_t)((timer & 0x0000FF00)>>8);
					TxData0[2]=(int8_t)((timer & 0x00FF0000)>>16);
					TxData0[3]=(int8_t)(Data[0].Gir_x & 0x00FF);
					TxData0[4]=(int8_t)((Data[0].Gir_x & 0xFF00 )>> 8);
					TxData0[5]=(int8_t)(Data[0].Gir_y  & 0x00FF);
					TxData0[6]=(int8_t)((Data[0].Gir_y & 0xFF00 )>> 8);
					TxData0[7]=Err;
					HAL_CAN_AddTxMessage(&hcan,&TxHeader,TxData0,&TxMailbox);//INVIO PRIMO MESSAGGIO
					TxHeader.StdId=(ID)|SEC_P;

					TxData0[0]=(int8_t)(Data[0].Acc_x & 0x00FF);
					TxData0[1]=(int8_t)((Data[0].Acc_x & 0xFF00 )>> 8);
					TxData0[2]=(int8_t)(Data[0].Acc_y & 0x00FF);
					TxData0[3]=(int8_t)((Data[0].Acc_y & 0xFF00 )>> 8);
					TxData0[4]=(int8_t)(Data[0].Acc_z & 0x00FF);
					TxData0[5]=(int8_t)((Data[0].Acc_z & 0xFF00 )>> 8);
					TxData0[6]=(int8_t)(Data[0].T_b & 0x00FF);
					TxData0[7]=(int8_t)((Data[0].T_b & 0xFF00 )>> 8);
					HAL_CAN_AddTxMessage(&hcan,&TxHeader,TxData0,&TxMailbox);//IONVIO SECONDO MESSAGGIO
					break;
    			}
    			case STR_MODE:{
					TxHeader.StdId=(ID)|THI_P;
					TxData0[0]=(int8_t)(Data[0].Pres  & 0x000000FF);
					TxData0[1]=(int8_t)((Data[0].Pres & 0x0000FF00)>>8);
					TxData0[2]=(int8_t)((Data[0].Pres & 0x00FF0000)>>16);
					TxData0[3]=(int8_t)((Data[0].Pres & 0xFF000000)>>24);
					TxData0[4]=(int8_t)(Data[0].Hum  & 0x000000FF);
					TxData0[5]=(int8_t)((Data[0].Hum & 0x0000FF00)>>8);
					TxData0[6]=0x00;
					TxData0[7]=0x00;
					HAL_CAN_AddTxMessage(&hcan,&TxHeader,TxData0,&TxMailbox);//INVIO TERZO MESSAGGIO SOLO INIZIO E FINE
					break;
    			}
    			default:break;
    			}
     }

}
uint8_t get_data(){
	TIM2->CNT=0;
	//DECIDE CHE LETTURE ANDARE A FARE E PERMETTER DI LEGGERE I DATI NON ESSENZIALI SOLO ALL'INIZIO E ALLA FINE
	switch (flagStartData){
    	case STD_MODE:{
    		//ACCELLERETION FROM ACCELEROMETER
			iis3dhhc_status_get(&dev_ctx_acc, &reg_acc.status);
			if (reg_acc.status.zyxda){
				memset(data_raw_acceleration.u8bit, 0x00, 3*sizeof(int16_t));
				iis3dhhc_acceleration_raw_get(&dev_ctx_acc, data_raw_acceleration.u8bit);
				Data[0].Acc_x=data_raw_acceleration.i16bit[0];
				Data[0].Acc_y=data_raw_acceleration.i16bit[1];
				Data[0].Acc_z=data_raw_acceleration.i16bit[2];
				//memset(data_raw_temperature.u8bit, 0x00, sizeof(int16_t));
				//iis3dhhc_temperature_raw_get(&dev_ctx_acc, data_raw_temperature.u8bit);
				//data_raw_temperature.i16bit = data_raw_temperature.i16bit >> 4;
				//Data[0].T_a=data_raw_temperature.i16bit+25*16;
			}
			//ANGULAR RATE FROM GYROSCOPE
			l2g2is_dev_status_get(&dev_ctx_gir, &reg_gir);
			if ( reg_gir.xyda ){
				memset(data_raw_angular_rate.u8bit, 0x00, 2 * sizeof(int16_t));
				l2g2is_angular_rate_raw_get(&dev_ctx_gir, data_raw_angular_rate.u8bit);
				Data[0].Gir_x=data_raw_angular_rate.i16bit[0];
				Data[0].Gir_y=data_raw_angular_rate.i16bit[1];
				//memset(data_raw_temperature.u8bit, 0x00, sizeof(int16_t));
				//l2g2is_temperature_raw_get(&dev_ctx_gir, data_raw_temperature.u8bit);
				//data_raw_temperature.i16bit = data_raw_temperature.i16bit >> 4;
				//Data[0].T_g=data_raw_temperature.i16bit+25*1/0.0625;
			}
			//TEMPERATURE OF PRESSURE SENSOR
			lps22hb_press_data_ready_get(&dev_ctx_bar, &reg_bar);
			if (reg_bar){
				memset(data_raw_temperature.u8bit, 0x00, sizeof(int16_t));
				lps22hb_temperature_raw_get(&dev_ctx_bar, data_raw_temperature.u8bit);
				Data[0].T_b=data_raw_temperature.i16bit;
			}
			break;
    	}
    	case STR_MODE:{
			//BAROMETRO

			//dev_ctx_bar.write_reg = platform_write_bar;
			//dev_ctx_bar.read_reg = platform_read_bar;
			//dev_ctx_bar.handle = &hi2c1;

			// Read output only if new value is available
			lps22hb_press_data_ready_get(&dev_ctx_bar, &reg_bar);
			if (reg_bar){
				memset(data_raw_pressure.u8bit, 0x00, sizeof(int32_t));
				lps22hb_pressure_raw_get(&dev_ctx_bar, data_raw_pressure.u8bit);
				Data[0].Pres=data_raw_pressure.i32bit;
				//pressure_hPa = lps22hb_from_lsb_to_hpa(data_raw_pressure.i32bit);
				memset(data_raw_temperature.u8bit, 0x00, sizeof(int16_t));
				lps22hb_temperature_raw_get(&dev_ctx_bar, data_raw_temperature.u8bit);
				Data[0].T_b=data_raw_temperature.i16bit;
				//temperature_degC = lps22hb_from_lsb_to_degc(data_raw_temperature.i16bit);
			}

				//HUMIDITY
			hts221_status_get(&dev_ctx_hum, &reg_hum.status_reg);
			if (reg_hum.status_reg.h_da)
				{
				// Read humidity data
				memset(data_raw_humidity.u8bit, 0x00, sizeof(int16_t));
				hts221_humidity_raw_get(&dev_ctx_hum, data_raw_humidity.u8bit);
				//humidity_perc = linear_interpolation(&lin_hum, data_raw_humidity.i16bit);
				Data[0].Hum= data_raw_humidity.i16bit;
				//if (humidity_perc < 0) humidity_perc = 0;
				//if (humidity_perc > 100) humidity_perc = 100;
				}
			break;
    	}
    	default:break;
	}
	Data[0].Responce_Time_millis=TIM2->CNT;

}
/* USER CODE END 4 */

void Error_Handler(void)
{
}

/************************ (C) COPYRIGHT STMicroelectronics *****END OF FILE****/
